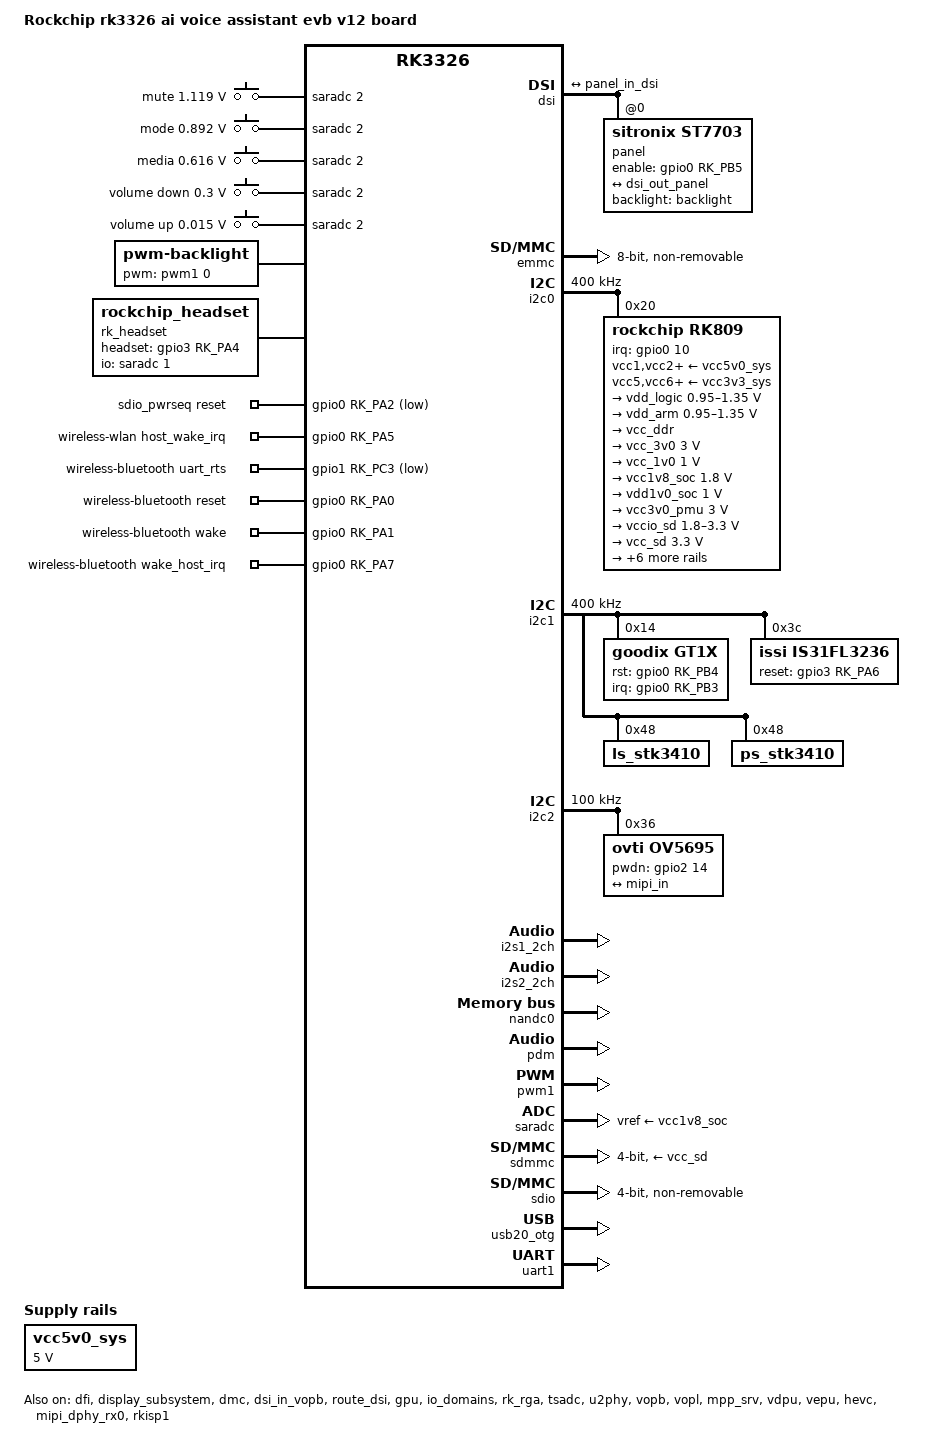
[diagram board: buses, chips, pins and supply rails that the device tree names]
/*
 * Copyright (c) 2018 Fuzhou Rockchip Electronics Co., Ltd
 *
 * SPDX-License-Identifier: (GPL-2.0+ OR MIT)
 */

/dts-v1/;
#include <dt-bindings/display/drm_mipi_dsi.h>
#include <dt-bindings/gpio/gpio.h>
#include <dt-bindings/input/input.h>
#include <dt-bindings/pinctrl/rockchip.h>
#include <dt-bindings/sensor-dev.h>
#include "rk3326.dtsi"
#include "rk3326-863-cif-sensor.dtsi"
#include "px30-android.dtsi"

/ {
	model = "Rockchip rk3326 ai voice assistant evb v12 board";
	compatible = "rockchip,rk3326-evb-ai-va-v12", "rockchip,rk3326";

	adc-keys {
		compatible = "adc-keys";
		io-channels = <&saradc 2>;
		io-channel-names = "buttons";
		poll-interval = <100>;
		keyup-threshold-microvolt = <1800000>;

		mute-key {
			linux,code = <KEY_MUTE>;
			label = "mute";
			press-threshold-microvolt = <1119000>;
		};

		mode-key {
			linux,code = <KEY_MODE>;
			label = "mode";
			press-threshold-microvolt = <892000>;
		};

		media-key {
			linux,code = <KEY_MEDIA>;
			label = "media";
			press-threshold-microvolt = <616000>;
		};

		vol-down-key {
			linux,code = <KEY_VOLUMEDOWN>;
			label = "volume down";
			press-threshold-microvolt = <300000>;
		};

		vol-up-key {
			linux,code = <KEY_VOLUMEUP>;
			label = "volume up";
			press-threshold-microvolt = <15000>;
		};
	};

	backlight: backlight {
		compatible = "pwm-backlight";
		pwms = <&pwm1 0 25000 0>;
		brightness-levels = <
			  0   1   2   3   4   5   6   7
			  8   9  10  11  12  13  14  15
			 16  17  18  19  20  21  22  23
			 24  25  26  27  28  29  30  31
			 32  33  34  35  36  37  38  39
			 40  41  42  43  44  45  46  47
			 48  49  50  51  52  53  54  55
			 56  57  58  59  60  61  62  63
			 64  65  66  67  68  69  70  71
			 72  73  74  75  76  77  78  79
			 80  81  82  83  84  85  86  87
			 88  89  90  91  92  93  94  95
			 96  97  98  99 100 101 102 103
			104 105 106 107 108 109 110 111
			112 113 114 115 116 117 118 119
			120 121 122 123 124 125 126 127
			128 129 130 131 132 133 134 135
			136 137 138 139 140 141 142 143
			144 145 146 147 148 149 150 151
			152 153 154 155 156 157 158 159
			160 161 162 163 164 165 166 167
			168 169 170 171 172 173 174 175
			176 177 178 179 180 181 182 183
			184 185 186 187 188 189 190 191
			192 193 194 195 196 197 198 199
			200 201 202 203 204 205 206 207
			208 209 210 211 212 213 214 215
			216 217 218 219 220 221 222 223
			224 225 226 227 228 229 230 231
			232 233 234 235 236 237 238 239
			240 241 242 243 244 245 246 247
			248 249 250 251 252 253 254 255>;
		default-brightness-level = <200>;
	};

	rk809-sound {
		compatible = "simple-audio-card";
		simple-audio-card,name = "rockchip,rk809-codec";
		simple-audio-card,mclk-fs = <256>;
		simple-audio-card,widgets =
			"Microphone", "Mic Jack",
			"Headphone", "Headphone Jack";
		simple-audio-card,routing =
			"Mic Jack", "MICBIAS1",
			"IN1P", "Mic Jack",
			"Headphone Jack", "HPOL",
			"Headphone Jack", "HPOR";
		simple-audio-card,dai-link@0 {
			format = "i2s";
			cpu {
				sound-dai = <&i2s1_2ch>;
			};
			codec {
				sound-dai = <&rk809_codec 0>;
			};
		};
		simple-audio-card,dai-link@1 {
			format = "pdm";
			cpu {
				sound-dai = <&pdm>;
			};
			codec {
				sound-dai = <&rk809_codec 1>;
			};
		};
	};

	bt-sound {
		compatible = "simple-audio-card";
		simple-audio-card,format = "dsp_a";
		simple-audio-card,bitclock-inversion = <1>;
		simple-audio-card,mclk-fs = <256>;
		simple-audio-card,name = "rockchip,bt";
		simple-audio-card,cpu {
			sound-dai = <&i2s2_2ch>;
		};
		simple-audio-card,codec {
			sound-dai = <&bt_sco>;
		};
	};

	bt_sco: bt-sco {
		compatible = "delta,dfbmcs320";
		#sound-dai-cells = <0>;
		status = "okay";
	};

	rk_headset: rk-headset {
		compatible = "rockchip_headset";
		headset_gpio = <&gpio3 RK_PA4 GPIO_ACTIVE_HIGH>;
		pinctrl-names = "default";
		pinctrl-0 = <&hp_det>;
		io-channels = <&saradc 1>;
	};

	sdio_pwrseq: sdio-pwrseq {
		compatible = "mmc-pwrseq-simple";
		clocks = <&rk809 1>;
		clock-names = "ext_clock";
		pinctrl-names = "default";
		pinctrl-0 = <&wifi_enable_h>;

		/*
		 * On the module itself this is one of these (depending
		 * on the actual card populated):
		 * - SDIO_RESET_L_WL_REG_ON
		 * - PDN (power down when low)
		 */
		reset-gpios = <&gpio0 RK_PA2 GPIO_ACTIVE_LOW>; /* GPIO3_A4 */
	};

	test-power {
		status = "okay";
	};

	vcc5v0_sys: vccsys {
		compatible = "regulator-fixed";
		regulator-name = "vcc5v0_sys";
		regulator-always-on;
		regulator-boot-on;
		regulator-min-microvolt = <5000000>;
		regulator-max-microvolt = <5000000>;
	};

	wireless-wlan {
		compatible = "wlan-platdata";
		wifi_chip_type = "AP6256";
		WIFI,host_wake_irq = <&gpio0 RK_PA5 GPIO_ACTIVE_HIGH>;
		status = "okay";
	};

	wireless-bluetooth {
		compatible = "bluetooth-platdata";
		clocks = <&rk809 1>;
		clock-names = "ext_clock";
		uart_rts_gpios = <&gpio1 RK_PC3 GPIO_ACTIVE_LOW>;
		pinctrl-names = "default","rts_gpio";
		pinctrl-0 = <&uart1_rts>;
		pinctrl-1 = <&uart1_rts_gpio>;
		BT,reset_gpio = <&gpio0 RK_PA0 GPIO_ACTIVE_HIGH>;
		BT,wake_gpio = <&gpio0 RK_PA1 GPIO_ACTIVE_HIGH>;
		BT,wake_host_irq = <&gpio0 RK_PA7 GPIO_ACTIVE_HIGH>;
		status = "okay";
	};
};

&bus_apll {
	bus-supply = <&vdd_logic>;
	status = "okay";
};

&cpu0 {
	cpu-supply = <&vdd_arm>;
};

&dfi {
	status = "okay";
};

&display_subsystem {
	status = "okay";
};

&dmc {
	center-supply = <&vdd_logic>;
	status = "okay";
};

&dsi {
	status = "okay";

	panel@0 {
		compatible = "sitronix,st7703", "simple-panel-dsi";
		reg = <0>;
		backlight = <&backlight>;
		enable-gpios = <&gpio0 RK_PB5 GPIO_ACTIVE_HIGH>;
		prepare-delay-ms = <2>;
		reset-delay-ms = <1>;
		init-delay-ms = <20>;
		enable-delay-ms = <120>;
		disable-delay-ms = <50>;
		unprepare-delay-ms = <40>;

		width-mm = <68>;
		height-mm = <121>;

		dsi,flags = <(MIPI_DSI_MODE_VIDEO | MIPI_DSI_MODE_VIDEO_BURST |
			      MIPI_DSI_MODE_LPM | MIPI_DSI_MODE_EOT_PACKET)>;
		dsi,format = <MIPI_DSI_FMT_RGB888>;
		dsi,lanes = <4>;

		panel-init-sequence = [
			05 fa 01 11
			39 00 04 b9 f1 12 83
			39 00 1c ba 33 81 05 f9 0e 0e 00 00 00
				 00 00 00 00 00 44 25 00 91 0a
				 00 00 02 4f 01 00 00 37
			15 00 02 b8 25
			39 00 04 bf 02 11 00
			39 00 0b b3 0c 10 0a 50 03 ff 00 00 00
				 00
			39 00 0a c0 73 73 50 50 00 00 08 70 00
			15 00 02 bc 46
			15 00 02 cc 0b
			15 00 02 b4 80
			39 00 04 b2 c8 12 30
			39 00 0f e3 07 07 0b 0b 03 0b 00 00 00
				 00 ff 00 c0 10
			39 00 0d c1 53 00 1e 1e 77 e1 cc dd 67
				 77 33 33
			39 00 07 c6 00 00 ff ff 01 ff
			39 00 03 b5 09 09
			39 00 03 b6 87 95
			39 00 40 e9 c2 10 05 05 10 05 a0 12 31
				 23 3f 81 0a a0 37 18 00 80 01
				 00 00 00 00 80 01 00 00 00 48
				 f8 86 42 08 88 88 80 88 88 88
				 58 f8 87 53 18 88 88 81 88 88
				 88 00 00 00 01 00 00 00 00 00
				 00 00 00 00
			39 00 3e ea 00 1a 00 00 00 00 02 00 00
				 00 00 00 1f 88 81 35 78 88 88
				 85 88 88 88 0f 88 80 24 68 88
				 88 84 88 88 88 23 10 00 00 1c
				 00 00 00 00 00 00 00 00 00 00
				 00 00 00 00 00 30 05 a0 00 00
				 00 00
			39 00 23 e0 00 06 08 2a 31 3f 38 36 07
				 0c 0d 11 13 12 13 11 18 00 06
				 08 2a 31 3f 38 36 07 0c 0d 11
				 13 12 13 11 18
			05 32 01 29
		];

		panel-exit-sequence = [
			05 00 01 28
			05 00 01 10
		];

		display-timings {
			native-mode = <&timing0>;

			timing0: timing0 {
				clock-frequency = <66000000>;
				hactive = <720>;
				vactive = <1280>;
				hfront-porch = <40>;
				hsync-len = <10>;
				hback-porch = <40>;
				vfront-porch = <22>;
				vsync-len = <4>;
				vback-porch = <11>;
				hsync-active = <0>;
				vsync-active = <0>;
				de-active = <0>;
				pixelclk-active = <0>;
			};
		};

		ports {
			#address-cells = <1>;
			#size-cells = <0>;

			port@0 {
				reg = <0>;
				panel_in_dsi: endpoint {
					remote-endpoint = <&dsi_out_panel>;
				};
			};
		};
	};

	ports {
		#address-cells = <1>;
		#size-cells = <0>;

		port@1 {
			reg = <1>;
			dsi_out_panel: endpoint {
				remote-endpoint = <&panel_in_dsi>;
			};
		};
	};
};

&dsi_in_vopb {
	status = "okay";
};

&dsi_in_vopl {
	status = "disabled";
};

&route_dsi {
	connect = <&vopb_out_dsi>;
	status = "okay";
};

&emmc {
	bus-width = <8>;
	cap-mmc-highspeed;
	mmc-hs200-1_8v;
	no-sdio;
	no-sd;
	disable-wp;
	non-removable;
	num-slots = <1>;
	status = "okay";
};

&gpu {
	mali-supply = <&vdd_logic>;
	status = "okay";
};

&i2c0 {
	status = "okay";
	clock-frequency = <400000>;
	i2c-scl-rising-time-ns = <280>;
	i2c-scl-falling-time-ns = <16>;

	rk809: pmic@20 {
		compatible = "rockchip,rk809";
		reg = <0x20>;
		interrupt-parent = <&gpio0>;
		interrupts = <10 IRQ_TYPE_LEVEL_LOW>;
		pinctrl-names = "default", "pmic-sleep",
				"pmic-power-off", "pmic-reset";
		pinctrl-0 = <&pmic_int>;
		pinctrl-1 = <&soc_slppin_slp>, <&rk817_slppin_slp>;
		pinctrl-2 = <&soc_slppin_gpio>, <&rk817_slppin_pwrdn>;
		pinctrl-3 = <&soc_slppin_rst>, <&rk817_slppin_rst>;
		rockchip,system-power-controller;
		wakeup-source;
		#clock-cells = <1>;
		clock-output-names = "rk808-clkout1", "rk808-clkout2";
		//fb-inner-reg-idxs = <2>;
		/* 1: rst regs (default in codes), 0: rst the pmic */
		pmic-reset-func = <1>;

		vcc1-supply = <&vcc5v0_sys>;
		vcc2-supply = <&vcc5v0_sys>;
		vcc3-supply = <&vcc5v0_sys>;
		vcc4-supply = <&vcc5v0_sys>;
		vcc5-supply = <&vcc3v3_sys>;
		vcc6-supply = <&vcc3v3_sys>;
		vcc7-supply = <&vcc3v3_sys>;
		vcc8-supply = <&vcc3v3_sys>;
		vcc9-supply = <&vcc5v0_sys>;

		pwrkey {
			status = "okay";
		};

		pinctrl_rk8xx: pinctrl_rk8xx {
			gpio-controller;
			#gpio-cells = <2>;

			rk817_slppin_null: rk817_slppin_null {
				pins = "gpio_slp";
				function = "pin_fun0";
			};

			rk817_slppin_slp: rk817_slppin_slp {
				pins = "gpio_slp";
				function = "pin_fun1";
			};

			rk817_slppin_pwrdn: rk817_slppin_pwrdn {
				pins = "gpio_slp";
				function = "pin_fun2";
			};

			rk817_slppin_rst: rk817_slppin_rst {
				pins = "gpio_slp";
				function = "pin_fun3";
			};
		};

		regulators {
			vdd_logic: DCDC_REG1 {
				regulator-always-on;
				regulator-boot-on;
				regulator-min-microvolt = <950000>;
				regulator-max-microvolt = <1350000>;
				regulator-ramp-delay = <6001>;
				regulator-initial-mode = <0x2>;
				regulator-name = "vdd_logic";
				regulator-state-mem {
					regulator-on-in-suspend;
					regulator-suspend-microvolt = <950000>;
				};
			};

			vdd_arm: DCDC_REG2 {
				regulator-always-on;
				regulator-boot-on;
				regulator-min-microvolt = <950000>;
				regulator-max-microvolt = <1350000>;
				regulator-ramp-delay = <6001>;
				regulator-initial-mode = <0x2>;
				regulator-name = "vdd_arm";
				regulator-state-mem {
					regulator-off-in-suspend;
					regulator-suspend-microvolt = <950000>;
				};
			};

			vcc_ddr: DCDC_REG3 {
				regulator-always-on;
				regulator-boot-on;
				regulator-initial-mode = <0x2>;
				regulator-name = "vcc_ddr";
				regulator-state-mem {
					regulator-on-in-suspend;
				};
			};

			vcc_3v0: DCDC_REG4 {
				regulator-always-on;
				regulator-boot-on;
				regulator-min-microvolt = <3000000>;
				regulator-max-microvolt = <3000000>;
				regulator-initial-mode = <0x2>;
				regulator-name = "vcc_3v0";
				regulator-state-mem {
					regulator-off-in-suspend;
					regulator-suspend-microvolt = <3000000>;
				};
			};

			vcc_1v0: LDO_REG1 {
				regulator-always-on;
				regulator-boot-on;
				regulator-min-microvolt = <1000000>;
				regulator-max-microvolt = <1000000>;
				regulator-name = "vcc_1v0";
				regulator-state-mem {
					regulator-on-in-suspend;
					regulator-suspend-microvolt = <1000000>;
				};
			};

			vcc1v8_soc: LDO_REG2 {
				regulator-always-on;
				regulator-boot-on;
				regulator-min-microvolt = <1800000>;
				regulator-max-microvolt = <1800000>;

				regulator-name = "vcc1v8_soc";
				regulator-state-mem {
					regulator-on-in-suspend;
					regulator-suspend-microvolt = <1800000>;
				};
			};

			vdd1v0_soc: LDO_REG3 {
				regulator-always-on;
				regulator-boot-on;
				regulator-min-microvolt = <1000000>;
				regulator-max-microvolt = <1000000>;

				regulator-name = "vcc1v0_soc";
				regulator-state-mem {
					regulator-on-in-suspend;
					regulator-suspend-microvolt = <1000000>;
				};
			};

			vcc3v0_pmu: LDO_REG4 {
				regulator-always-on;
				regulator-boot-on;
				regulator-min-microvolt = <3000000>;
				regulator-max-microvolt = <3000000>;

				regulator-name = "vcc3v0_pmu";
				regulator-state-mem {
					regulator-on-in-suspend;
					regulator-suspend-microvolt = <3000000>;

				};
			};

			vccio_sd: LDO_REG5 {
				regulator-always-on;
				regulator-boot-on;
				regulator-min-microvolt = <1800000>;
				regulator-max-microvolt = <3300000>;

				regulator-name = "vccio_sd";
				regulator-state-mem {
					regulator-on-in-suspend;
					regulator-suspend-microvolt = <3300000>;
				};
			};

			vcc_sd: LDO_REG6 {
				regulator-min-microvolt = <3300000>;
				regulator-max-microvolt = <3300000>;

				regulator-name = "vcc_sd";
				regulator-state-mem {
					regulator-on-in-suspend;
					regulator-suspend-microvolt = <3300000>;

				};
			};

			vcc2v8_dvp: LDO_REG7 {
				regulator-always-on;
				regulator-boot-on;
				regulator-min-microvolt = <2800000>;
				regulator-max-microvolt = <2800000>;

				regulator-name = "vcc2v8_dvp";
				regulator-state-mem {
					regulator-off-in-suspend;
					regulator-suspend-microvolt = <2800000>;
				};
			};

			vcc1v8_dvp: LDO_REG8 {
				regulator-always-on;
				regulator-boot-on;
				regulator-min-microvolt = <1800000>;
				regulator-max-microvolt = <1800000>;

				regulator-name = "vcc1v8_dvp";
				regulator-state-mem {
					regulator-on-in-suspend;
					regulator-suspend-microvolt = <1800000>;
				};
			};

			vdd1v5_dvp: LDO_REG9 {
				regulator-always-on;
				regulator-boot-on;
				regulator-min-microvolt = <1500000>;
				regulator-max-microvolt = <1500000>;

				regulator-name = "vdd1v5_dvp";
				regulator-state-mem {
					regulator-off-in-suspend;
					regulator-suspend-microvolt = <1500000>;
				};
			};

			vcc3v3_sys: DCDC_REG5 {
				regulator-always-on;
				regulator-boot-on;
				regulator-min-microvolt = <3300000>;
				regulator-max-microvolt = <3300000>;
				regulator-name = "vcc3v3_sys";
				regulator-state-mem {
					regulator-on-in-suspend;
					regulator-suspend-microvolt = <3300000>;
				};
			};

			vcc5v0_host: SWITCH_REG1 {
				regulator-name = "vcc5v0_host";
			};

			vcc3v3_lcd: SWITCH_REG2 {
				regulator-boot-on;
				regulator-name = "vcc3v3_lcd";
			};
		};

		rk809_codec: codec {
			#sound-dai-cells = <1>;
			compatible = "rockchip,rk809-codec", "rockchip,rk817-codec";
			clocks = <&cru SCLK_I2S1_OUT>;
			clock-names = "mclk";
			pinctrl-names = "default";
			pinctrl-0 = <&i2s1_2ch_mclk>;
			pdmdata-out-enable;
			use-ext-amplifier;
			adc-for-loopback;
			spk-ctl-gpios = <&gpio0 RK_PC1 GPIO_ACTIVE_HIGH>;
			hp-volume = <20>;
			spk-volume = <20>;
		};
	};
};

&i2c1 {
	status = "okay";
	clock-frequency = <400000>;
	i2c-scl-rising-time-ns = <275>;
	i2c-scl-falling-time-ns = <16>;

	gt1x: gt1x@14 {
	      compatible = "goodix,gt1x";
	      reg = <0x14>;
	      goodix,rst-gpio = <&gpio0 RK_PB4 GPIO_ACTIVE_HIGH>;
	      goodix,irq-gpio = <&gpio0 RK_PB3 IRQ_TYPE_LEVEL_LOW>;
	};

	is31fl3236: led-controller@3c {
		compatible = "issi,is31fl3236";
		reg = <0x3c>;
		#address-cells = <1>;
		#size-cells = <0>;
		reset-gpios = <&gpio3 RK_PA6 GPIO_ACTIVE_HIGH>;
		status = "okay";

		led1: led@1 {
			label = "led1";
			reg = <1>;
			led-max-microamp = <10000>;
			linux,default-trigger = "timer";
			linux,default-trigger-delay-ms = <0>;
			linux,blink-delay-on-ms = <100>;
			linux,blink-delay-off-ms = <1200>;
		};

		led2: led@2 {
			label = "led2";
			reg = <2>;
			led-max-microamp = <10000>;
			linux,default-trigger = "timer";
			linux,default-trigger-delay-ms = <0>;
			linux,blink-delay-on-ms = <100>;
			linux,blink-delay-off-ms = <1200>;
		};

		led3: led@3 {
			label = "led3";
			reg = <3>;
			led-max-microamp = <10000>;
			linux,default-trigger = "default-on";
		};

		led4: led@4 {
			label = "led4";
			reg = <4>;
			led-max-microamp = <10000>;
			linux,default-trigger = "timer";
			linux,default-trigger-delay-ms = <100>;
			linux,blink-delay-on-ms = <100>;
			linux,blink-delay-off-ms = <1200>;
		};

		led5: led@5 {
			label = "led5";
			reg = <5>;
			led-max-microamp = <10000>;
			linux,default-trigger = "timer";
			linux,default-trigger-delay-ms = <100>;
			linux,blink-delay-on-ms = <100>;
			linux,blink-delay-off-ms = <1200>;
		};

		led6: led@6 {
			label = "led6";
			reg = <6>;
			led-max-microamp = <10000>;
			linux,default-trigger = "default-on";
		};

		led7: led@7 {
			label = "led7";
			reg = <7>;
			led-max-microamp = <10000>;
			linux,default-trigger = "timer";
			linux,default-trigger-delay-ms = <200>;
			linux,blink-delay-on-ms = <100>;
			linux,blink-delay-off-ms = <1200>;
		};

		led8: led@8 {
			label = "led8";
			reg = <8>;
			led-max-microamp = <10000>;
			linux,default-trigger = "timer";
			linux,default-trigger-delay-ms = <200>;
			linux,blink-delay-on-ms = <100>;
			linux,blink-delay-off-ms = <1200>;
		};

		led9: led@9 {
			label = "led9";
			reg = <9>;
			led-max-microamp = <10000>;
			linux,default-trigger = "default-on";
		};

		led10: led@10 {
			label = "led10";
			reg = <10>;
			led-max-microamp = <10000>;
			linux,default-trigger = "timer";
			linux,default-trigger-delay-ms = <300>;
			linux,blink-delay-on-ms = <100>;
			linux,blink-delay-off-ms = <1200>;
		};

		led11: led@11 {
			label = "led11";
			reg = <11>;
			led-max-microamp = <10000>;
			linux,default-trigger = "timer";
			linux,default-trigger-delay-ms = <300>;
			linux,blink-delay-on-ms = <100>;
			linux,blink-delay-off-ms = <1200>;
		};

		led12: led@12 {
			label = "led12";
			reg = <12>;
			led-max-microamp = <10000>;
			linux,default-trigger = "default-on";
		};

		led13: led@13 {
			label = "led13";
			reg = <13>;
			led-max-microamp = <10000>;
			linux,default-trigger = "timer";
			linux,default-trigger-delay-ms = <400>;
			linux,blink-delay-on-ms = <100>;
			linux,blink-delay-off-ms = <1200>;
		};

		led14: led@14 {
			label = "led14";
			reg = <14>;
			led-max-microamp = <10000>;
			linux,default-trigger = "timer";
			linux,default-trigger-delay-ms = <400>;
			linux,blink-delay-on-ms = <100>;
			linux,blink-delay-off-ms = <1200>;
		};

		led15: led@15 {
			label = "led15";
			reg = <15>;
			led-max-microamp = <10000>;
			linux,default-trigger = "default-on";
		};

		led16: led@16 {
			label = "led16";
			reg = <16>;
			led-max-microamp = <10000>;
			linux,default-trigger = "timer";
			linux,default-trigger-delay-ms = <500>;
			linux,blink-delay-on-ms = <100>;
			linux,blink-delay-off-ms = <1200>;
		};

		led17: led@17 {
			label = "led17";
			reg = <17>;
			led-max-microamp = <10000>;
			linux,default-trigger = "timer";
			linux,default-trigger-delay-ms = <500>;
			linux,blink-delay-on-ms = <100>;
			linux,blink-delay-off-ms = <1200>;
		};

		led18: led@18 {
			label = "led18";
			reg = <18>;
			led-max-microamp = <10000>;
			linux,default-trigger = "default-on";
		};

		led19: led@19 {
			label = "led19";
			reg = <19>;
			led-max-microamp = <10000>;
			linux,default-trigger = "timer";
			linux,default-trigger-delay-ms = <600>;
			linux,blink-delay-on-ms = <100>;
			linux,blink-delay-off-ms = <1200>;
		};

		led20: led@20 {
			label = "led20";
			reg = <20>;
			led-max-microamp = <10000>;
			linux,default-trigger = "timer";
			linux,default-trigger-delay-ms = <600>;
			linux,blink-delay-on-ms = <100>;
			linux,blink-delay-off-ms = <1200>;
		};

		led21: led@21 {
			label = "led21";
			reg = <21>;
			led-max-microamp = <10000>;
			linux,default-trigger = "default-on";
		};

		led22: led@22 {
			label = "led22";
			reg = <22>;
			led-max-microamp = <10000>;
			linux,default-trigger = "timer";
			linux,default-trigger-delay-ms = <700>;
			linux,blink-delay-on-ms = <100>;
			linux,blink-delay-off-ms = <1200>;
		};

		led23: led@23 {
			label = "led23";
			reg = <23>;
			led-max-microamp = <10000>;
			linux,default-trigger = "timer";
			linux,default-trigger-delay-ms = <700>;
			linux,blink-delay-on-ms = <100>;
			linux,blink-delay-off-ms = <1200>;
		};

		led124: led@24 {
			label = "led24";
			reg = <24>;
			led-max-microamp = <10000>;
			linux,default-trigger = "default-on";
		};

		led25: led@25 {
			label = "led25";
			reg = <25>;
			led-max-microamp = <10000>;
			linux,default-trigger = "timer";
			linux,default-trigger-delay-ms = <800>;
			linux,blink-delay-on-ms = <100>;
			linux,blink-delay-off-ms = <1200>;
		};

		led26: led@26 {
			label = "led26";
			reg = <26>;
			led-max-microamp = <10000>;
			linux,default-trigger = "timer";
			linux,default-trigger-delay-ms = <800>;
			linux,blink-delay-on-ms = <100>;
			linux,blink-delay-off-ms = <1200>;
		};

		led27: led@27 {
			label = "led27";
			reg = <27>;
			led-max-microamp = <10000>;
			linux,default-trigger = "default-on";
		};

		led28: led@28 {
			label = "led28";
			reg = <28>;
			led-max-microamp = <10000>;
			linux,default-trigger = "timer";
			linux,default-trigger-delay-ms = <900>;
			linux,blink-delay-on-ms = <100>;
			linux,blink-delay-off-ms = <1200>;
		};

		led29: led@29 {
			label = "led29";
			reg = <29>;
			led-max-microamp = <10000>;
			linux,default-trigger = "timer";
			linux,default-trigger-delay-ms = <900>;
			linux,blink-delay-on-ms = <100>;
			linux,blink-delay-off-ms = <1200>;
		};

		led30: led@30 {
			label = "led30";
			reg = <30>;
			led-max-microamp = <10000>;
			linux,default-trigger = "default-on";
		};

		led31: led@31 {
			label = "led31";
			reg = <31>;
			led-max-microamp = <10000>;
			linux,default-trigger = "timer";
			linux,default-trigger-delay-ms = <1000>;
			linux,blink-delay-on-ms = <100>;
			linux,blink-delay-off-ms = <1200>;
		};

		led32: led@32 {
			label = "led32";
			reg = <32>;
			led-max-microamp = <10000>;
			linux,default-trigger = "timer";
			linux,default-trigger-delay-ms = <1000>;
			linux,blink-delay-on-ms = <100>;
			linux,blink-delay-off-ms = <1200>;
		};

		led33: led@33 {
			label = "led33";
			reg = <33>;
			led-max-microamp = <10000>;
			linux,default-trigger = "default-on";
		};

		led34: led@34 {
			label = "led34";
			reg = <34>;
			led-max-microamp = <10000>;
			linux,default-trigger = "timer";
			linux,default-trigger-delay-ms = <1100>;
			linux,blink-delay-on-ms = <100>;
			linux,blink-delay-off-ms = <1200>;
		};

		led35: led@35 {
			label = "led35";
			reg = <35>;
			led-max-microamp = <10000>;
			linux,default-trigger = "timer";
			linux,default-trigger-delay-ms = <1100>;
			linux,blink-delay-on-ms = <100>;
			linux,blink-delay-off-ms = <1200>;
		};

		led36: led@36 {
			label = "led36";
			reg = <36>;
			led-max-microamp = <10000>;
			linux,default-trigger = "default-on";
		};
	};

	ls_stk3410: light@48 {
		compatible = "ls_stk3410";
		status = "okay";
		reg = <0x48>;
		type = <SENSOR_TYPE_LIGHT>;
		irq_enable = <0>;
		als_threshold_high = <100>;
		als_threshold_low = <10>;
		als_ctrl_gain = <2>; /* 0:x1 1:x4 2:x16 3:x64 */
		poll_delay_ms = <100>;
	};

	ps_stk3410: proximity@48 {
		compatible = "ps_stk3410";
		status = "okay";
		reg = <0x48>;
		type = <SENSOR_TYPE_PROXIMITY>;
		//pinctrl-names = "default";
		//pinctrl-0 = <&gpio2_c3>;
		//irq-gpio = <&gpio0 RK_PB7 IRQ_TYPE_LEVEL_LOW>;
		//irq_enable = <1>;
		ps_threshold_high = <0x200>;
		ps_threshold_low = <0x100>;
		ps_ctrl_gain = <3>; /* 0:x1 1:x4 2:x16 3:x64 */
		ps_led_current = <3>; /* 0:12.5mA 1:25mA 2:50mA 3:100mA */
		poll_delay_ms = <100>;
	};

};

&i2c2 {
	status = "okay";

	clock-frequency = <100000>;

	/* These are relatively safe rise/fall times; TODO: measure */
	i2c-scl-falling-time-ns = <50>;
	i2c-scl-rising-time-ns = <300>;

	ov5695: ov5695@36 {
		compatible = "ovti,ov5695";
		reg = <0x36>;
		clocks = <&cru SCLK_CIF_OUT>;
		clock-names = "xvclk";
		/*reset-gpios = <&gpio2 14 GPIO_ACTIVE_HIGH>;*/
		pwdn-gpios = <&gpio2 14 GPIO_ACTIVE_HIGH>;
		//pinctrl-names = "default";
		//pinctrl-0 = <&cif_clkout_m0>;
		rockchip,camera-module-index = <0>;
		rockchip,camera-module-facing = "back";
		rockchip,camera-module-name = "TongJu";
		rockchip,camera-module-lens-name = "CHT842-MD";
		port {
			ov5695_out: endpoint {
				remote-endpoint = <&mipi_in>;
				data-lanes = <1 2>;
			};
		};
	};
};

&i2s1_2ch {
	status = "okay";
	#sound-dai-cells = <0>;
	pinctrl-0 = <&i2s1_2ch_sclk
		     &i2s1_2ch_lrck
		     &i2s1_2ch_sdo>;
};

&i2s2_2ch {
	status = "okay";
	rockchip,bclk-fs = <64>;
	#sound-dai-cells = <0>;
};

&io_domains {
	status = "okay";

	vccio1-supply = <&vcc1v8_soc>;
	vccio2-supply = <&vccio_sd>;
	vccio3-supply = <&vcc1v8_dvp>;
	vccio4-supply = <&vcc1v8_soc>;
	vccio5-supply = <&vcc_3v0>;
};

&isp_mmu {
	status = "okay";
};

&nandc0 {
	status = "okay";
};

&pdm {
	status = "okay";
	#sound-dai-cells = <0>;
	pinctrl-names = "default";
	pinctrl-0 = <&pdm_clk0m1
		&pdm_clk1
		&pdm_sdi0m1
		&pdm_sdi1
		&pdm_sdi2
		&pdm_sdi3>;
};

&pinctrl {
	pinctrl-names = "default";
	pinctrl-0 = <&tp_int>;

	headphone {
		hp_det: hp-det {
			rockchip,pins = <3 RK_PA4 RK_FUNC_GPIO &pcfg_pull_up>;
		};
	};

	pmic {
		pmic_int: pmic_int {
			rockchip,pins =
				<0 RK_PB2 RK_FUNC_GPIO &pcfg_pull_up>;
		};

		soc_slppin_gpio: soc_slppin_gpio {
			rockchip,pins =
				<0 RK_PA4 RK_FUNC_GPIO &pcfg_output_low>;
		};

		soc_slppin_slp: soc_slppin_slp {
			rockchip,pins =
				<0 RK_PA4 1 &pcfg_pull_none>;
		};

		soc_slppin_rst: soc_slppin_rst {
			rockchip,pins =
				<0 RK_PA4 2 &pcfg_pull_none>;
		};
	};

	sdio-pwrseq {
		wifi_enable_h: wifi-enable-h {
			rockchip,pins = <0 RK_PA2 RK_FUNC_GPIO &pcfg_pull_none>;
		};
	};

	touchscreen-int {
		tp_int: tp-int {
			rockchip,pins = <0 RK_PB3 RK_FUNC_GPIO &pcfg_pull_up>;
		};
	};
};

&pmu_io_domains {
	status = "okay";

	pmuio1-supply = <&vcc3v0_pmu>;
	pmuio2-supply = <&vcc3v0_pmu>;
};

&pwm1 {
	status = "okay";
};

&rk_rga {
	status = "okay";
};

&rockchip_suspend {
	status = "okay";
	rockchip,sleep-debug-en = <1>;
};

&saradc {
	status = "okay";
	vref-supply = <&vcc1v8_soc>;
};

&sdmmc {
	bus-width = <4>;
	cap-mmc-highspeed;
	cap-sd-highspeed;
	no-sdio;
	no-mmc;
	card-detect-delay = <800>;
	ignore-pm-notify;
	/*cd-gpios = <&gpio2 4 GPIO_ACTIVE_HIGH>; [> CD GPIO <]*/
	sd-uhs-sdr12;
	sd-uhs-sdr25;
	sd-uhs-sdr50;
	sd-uhs-sdr104;
	vqmmc-supply = <&vccio_sd>;
	vmmc-supply = <&vcc_sd>;
	status = "okay";
};

&sdio {
	bus-width = <4>;
	cap-sd-highspeed;
	no-sd;
	no-mmc;
	ignore-pm-notify;
	keep-power-in-suspend;
	non-removable;
	mmc-pwrseq = <&sdio_pwrseq>;
	sd-uhs-sdr104;
	status = "okay";
};

&tsadc {
	pinctrl-names = "gpio", "otpout";
	pinctrl-0 = <&tsadc_otp_gpio>;
	pinctrl-1 = <&tsadc_otp_out>;
	status = "okay";
};

&u2phy {
	status = "okay";

	u2phy_host: host-port {
		status = "okay";
	};

	u2phy_otg: otg-port {
		vbus-supply = <&vcc5v0_host>;
		status = "okay";
	};
};

&usb20_otg {
	status = "okay";
};

&uart1 {
	pinctrl-names = "default";
	pinctrl-0 = <&uart1_xfer &uart1_cts>;
	status = "okay";
};

&vopb {
	status = "okay";
};

&vopb_mmu {
	status = "okay";
};

&vopl {
	status = "okay";
};

&vopl_mmu {
	status = "okay";
};

&mpp_srv {
	status = "okay";
};

&vdpu {
	status = "okay";
};

&vepu {
	status = "okay";
};

&vpu_mmu {
	status = "okay";
};

&hevc {
	status = "okay";
};

&hevc_mmu {
	status = "okay";
};

&mipi_dphy_rx0 {
	status = "okay";

	ports {
		#address-cells = <1>;
		#size-cells = <0>;

		port@0 {
			reg = <0>;
			#address-cells = <1>;
			#size-cells = <0>;

			mipi_in: endpoint@1 {
				reg = <1>;
				remote-endpoint = <&ov5695_out>;
				data-lanes = <1 2>;
			};
		};

		port@1 {
			reg = <1>;
			#address-cells = <1>;
			#size-cells = <0>;

			dphy_rx_out: endpoint@0 {
				reg = <0>;
				remote-endpoint = <&isp_mipi_in>;
			};
		};
	};
};

&rkisp1 {
	status = "okay";
	pinctrl-names = "default";
	pinctrl-0 = <&cif_clkout_m0 &dvp_d0d1_m0 &dvp_d2d9_m0>;
	port {
		#address-cells = <1>;
		#size-cells = <0>;

		isp_mipi_in: endpoint@0 {
			reg = <0>;
			remote-endpoint = <&dphy_rx_out>;
		};

	};
};
